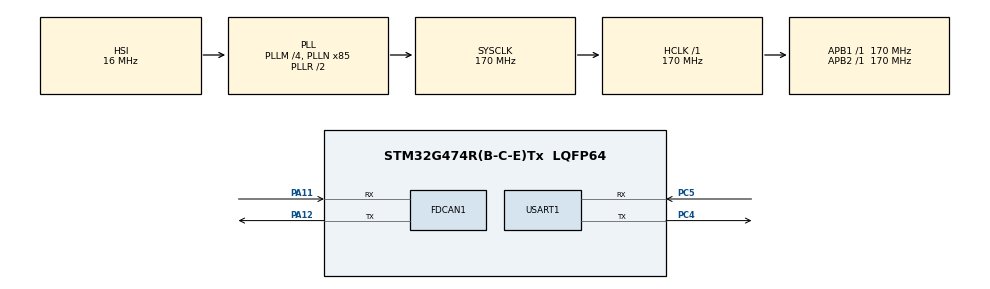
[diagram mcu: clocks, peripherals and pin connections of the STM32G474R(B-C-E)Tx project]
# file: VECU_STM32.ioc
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FDCAN1.AutoRetransmission=ENABLE
FDCAN1.CalculateBaudRateNominal=500000
FDCAN1.CalculateTimeBitNominal=2000
FDCAN1.CalculateTimeQuantumNominal=100.0
FDCAN1.NominalPrescaler=17
FDCAN1.NominalSyncJumpWidth=3
FDCAN1.NominalTimeSeg1=16
FDCAN1.NominalTimeSeg2=3
FDCAN1.StdFiltersNbr=4
FREERTOS.Tasks01=defaultTask,24,128,StartDefaultTask,Default,NULL,Dynamic,NULL,NULL;CanRxTask,40,512,StartCanRxTask,Default,NULL,Dynamic,NULL,NULL;VehicleTask,32,512,StartVehicleTask,Default,NULL,Dynamic,NULL,NULL;CanTxTask,32,512,StartCanTxTask,Default,NULL,Dynamic,NULL,NULL;DiagTask,24,1028,StartDiagTask,Default,NULL,Dynamic,NULL,NULL;HealthTask,24,256,StartHealthTask,Default,NULL,Dynamic,NULL,NULL;NvmTask,16,512,StartNvmTask,Default,NULL,Dynamic,NULL,NULL;CliTask,8,512,StartCliTask,As weak,NULL,Dynamic,NULL,NULL
FREERTOS.configCHECK_FOR_STACK_OVERFLOW=2
FREERTOS.configENABLE_FPU=1
FREERTOS.configGENERATE_RUN_TIME_STATS=1
FREERTOS.configRECORD_STACK_HIGH_ADDRESS=1
FREERTOS.configTOTAL_HEAP_SIZE=32768
FREERTOS.configUSE_MALLOC_FAILED_HOOK=1
FREERTOS.configUSE_TICK_HOOK=0
Mcu.Family=STM32G4
Mcu.Name=STM32G474R(B-C-E)Tx
Mcu.Package=LQFP64
NUCLEO-G474RE.BUTTON=1
NUCLEO-G474RE.LD2=true
NUCLEO-G474RE.VCP=true
NVIC.EXTI15_10_IRQn=true\:5\:0\:false\:false\:true\:true\:false\:true\:true
NVIC.FDCAN1_IT0_IRQn=true\:5\:0\:false\:false\:true\:true\:true\:true\:true
NVIC.FDCAN1_IT1_IRQn=true\:5\:0\:false\:false\:true\:true\:true\:true\:true
NVIC.PriorityGroup=NVIC_PRIORITYGROUP_4
NVIC.TIM6_DAC_IRQn=true\:0\:0\:true\:false\:true\:false\:false\:true\:true
NVIC.TimeBase=TIM6_DAC_IRQn
NVIC.TimeBaseIP=TIM6
NVIC.USART1_IRQn=true\:7\:0\:true\:false\:true\:true\:true\:true\:true
PA11.Mode=FDCAN_Activate
PA11.Signal=FDCAN1_RX
PA12.Mode=FDCAN_Activate
PA12.Signal=FDCAN1_TX
PA13.GPIO_Label=T_SWDIO
PA13.Signal=SYS_JTMS-SWDIO
PA14.GPIO_Label=T_SWCLK
PA14.Signal=SYS_JTCK-SWCLK
PA2.Signal=LPUART1_TX
PA3.Signal=LPUART1_RX
PB3.GPIO_Label=T_SWO
PB3.Signal=SYS_JTDO-SWO
PC14-OSC32_IN.GPIO_Label=RCC_OSC32_IN
PC14-OSC32_IN.Signal=RCC_OSC32_IN
PC15-OSC32_OUT.GPIO_Label=RCC_OSC32_OUT
PC15-OSC32_OUT.Signal=RCC_OSC32_OUT
PC4.Mode=Asynchronous
PC4.Signal=USART1_TX
PC5.Mode=Asynchronous
PC5.Signal=USART1_RX
PF0-OSC_IN.GPIO_Label=RCC_OSC_IN
PF0-OSC_IN.Signal=RCC_OSC_IN
PF1-OSC_OUT.GPIO_Label=RCC_OSC_OUT
PF1-OSC_OUT.Signal=RCC_OSC_OUT
ProjectManager.HeapSize=0x200
ProjectManager.StackSize=0x400
ProjectManager.TargetToolchain=STM32CubeIDE
RCC.ADC12Freq_Value=170000000
RCC.ADC345Freq_Value=170000000
RCC.AHBFreq_Value=170000000
RCC.APB1Freq_Value=170000000
RCC.APB1TimFreq_Value=170000000
RCC.APB2Freq_Value=170000000
RCC.APB2TimFreq_Value=170000000
RCC.CortexFreq_Value=170000000
RCC.EXTERNAL_CLOCK_VALUE=12288000
RCC.HCLKFreq_Value=170000000
RCC.HSE_VALUE=24000000
RCC.HSI48_VALUE=48000000
RCC.HSI_VALUE=16000000
RCC.LSE_VALUE=32768
RCC.PLLM=RCC_PLLM_DIV4
RCC.PLLN=85
RCC.RTCClockSelection=RCC_RTCCLKSOURCE_LSE
RCC.SYSCLKFreq_VALUE=170000000
RCC.SYSCLKSource=RCC_SYSCLKSOURCE_PLLCLK
RCC.USBFreq_Value=170000000
RCC.VCOOutputFreq_Value=340000000
USART1.VirtualMode-Asynchronous=VM_ASYNC
VP_FREERTOS_VS_CMSIS_V2.Mode=CMSIS_V2
VP_NUCLEO-G474RE_VS_BSP_COMMON.Mode=COMMON
VP_SYS_VS_DBSignals.Mode=DisableDeadBatterySignals
VP_SYS_VS_tim6.Mode=TIM6
board=NUCLEO-G474RE

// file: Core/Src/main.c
/* USER CODE BEGIN Header */
/**
  ******************************************************************************
  * @file           : main.c
  * @brief          : Main program body
  ******************************************************************************
  * @attention
  *
  * Copyright (c) 2026 STMicroelectronics.
  * All rights reserved.
  *
  * This software is licensed under terms that can be found in the LICENSE file
  * in the root directory of this software component.
  * If no LICENSE file comes with this software, it is provided AS-IS.
  *
  ******************************************************************************
  */
/* USER CODE END Header */
#include "main.h"
#include "cmsis_os.h"
#include "fdcan.h"
#include "usart.h"
#include "gpio.h"

COM_InitTypeDef BspCOMInit;

void SystemClock_Config(void);
void MX_FREERTOS_Init(void);

int main(void)
{

  /* MCU Configuration--------------------------------------------------------*/

  /* Reset of all peripherals, Initializes the Flash interface and the Systick. */
  HAL_Init();

  /* Configure the system clock */
  SystemClock_Config();

  /* Initialize all configured peripherals */
  MX_GPIO_Init();
  MX_FDCAN1_Init();
  MX_USART1_UART_Init();

  /* Init scheduler */
  osKernelInitialize();  /* Call init function for freertos objects (in cmsis_os2.c) */
  MX_FREERTOS_Init();

  /* Initialize led */
  BSP_LED_Init(LED_GREEN);

  /* Initialize USER push-button, will be used to trigger an interrupt each time it's pressed.*/
  BSP_PB_Init(BUTTON_USER, BUTTON_MODE_EXTI);

  /* Initialize COM1 port (115200, 8 bits (7-bit data + 1 stop bit), no parity */
  BspCOMInit.BaudRate   = 115200;
  BspCOMInit.WordLength = COM_WORDLENGTH_8B;
  BspCOMInit.StopBits   = COM_STOPBITS_1;
  BspCOMInit.Parity     = COM_PARITY_NONE;
  BspCOMInit.HwFlowCtl  = COM_HWCONTROL_NONE;
  if (BSP_COM_Init(COM1, &BspCOMInit) != BSP_ERROR_NONE)
  {
    Error_Handler();
  }

  /* Start scheduler */
  osKernelStart();

  /* We should never get here as control is now taken by the scheduler */

  /* Infinite loop */
  while (1)
  {

  }
}

void SystemClock_Config(void)
{
  RCC_OscInitTypeDef RCC_OscInitStruct = {0};
  RCC_ClkInitTypeDef RCC_ClkInitStruct = {0};

  /** Configure the main internal regulator output voltage
  */
  HAL_PWREx_ControlVoltageScaling(PWR_REGULATOR_VOLTAGE_SCALE1_BOOST);

  /** Initializes the RCC Oscillators according to the specified parameters
  * in the RCC_OscInitTypeDef structure.
  */
  RCC_OscInitStruct.OscillatorType = RCC_OSCILLATORTYPE_HSI;
  RCC_OscInitStruct.HSIState = RCC_HSI_ON;
  RCC_OscInitStruct.HSICalibrationValue = RCC_HSICALIBRATION_DEFAULT;
  RCC_OscInitStruct.PLL.PLLState = RCC_PLL_ON;
  RCC_OscInitStruct.PLL.PLLSource = RCC_PLLSOURCE_HSI;
  RCC_OscInitStruct.PLL.PLLM = RCC_PLLM_DIV4;
  RCC_OscInitStruct.PLL.PLLN = 85;
  RCC_OscInitStruct.PLL.PLLP = RCC_PLLP_DIV2;
  RCC_OscInitStruct.PLL.PLLQ = RCC_PLLQ_DIV2;
  RCC_OscInitStruct.PLL.PLLR = RCC_PLLR_DIV2;
  if (HAL_RCC_OscConfig(&RCC_OscInitStruct) != HAL_OK)
  {
    Error_Handler();
  }

  /** Initializes the CPU, AHB and APB buses clocks
  */
  RCC_ClkInitStruct.ClockType = RCC_CLOCKTYPE_HCLK|RCC_CLOCKTYPE_SYSCLK
                              |RCC_CLOCKTYPE_PCLK1|RCC_CLOCKTYPE_PCLK2;
  RCC_ClkInitStruct.SYSCLKSource = RCC_SYSCLKSOURCE_PLLCLK;
  RCC_ClkInitStruct.AHBCLKDivider = RCC_SYSCLK_DIV1;
  RCC_ClkInitStruct.APB1CLKDivider = RCC_HCLK_DIV1;
  RCC_ClkInitStruct.APB2CLKDivider = RCC_HCLK_DIV1;

  if (HAL_RCC_ClockConfig(&RCC_ClkInitStruct, FLASH_LATENCY_4) != HAL_OK)
  {
    Error_Handler();
  }
}

void HAL_TIM_PeriodElapsedCallback(TIM_HandleTypeDef *htim)
{
  if (htim->Instance == TIM6)
  {
    HAL_IncTick();
  }
}

void Error_Handler(void)
{
  __disable_irq();
  while (1)
  {
  }
}

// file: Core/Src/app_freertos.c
/* USER CODE BEGIN Header */
/**
  ******************************************************************************
  * File Name          : app_freertos.c
  * Description        : Code for freertos applications
  ******************************************************************************
  * @attention
  *
  * Copyright (c) 2026 STMicroelectronics.
  * All rights reserved.
  *
  * This software is licensed under terms that can be found in the LICENSE file
  * in the root directory of this software component.
  * If no LICENSE file comes with this software, it is provided AS-IS.
  *
  ******************************************************************************
  */
/* USER CODE END Header */

#include "FreeRTOS.h"
#include "task.h"
#include "main.h"
#include "cmsis_os.h"

/* USER CODE BEGIN Includes */
#include "debug_cli.h"

#include "vehicle_state_mgr.h"
#include "body_state_mgr.h"
#include "command_mgr.h"
#include "can_codec.h"
#include "can_matrix.h"
/* Khai báo các hàm từ platform/can_if/ */
extern ServiceResult_t CanIf_InitAndStart(void);
extern void            CanScheduler_Step10ms(void);
extern void UartPort_StartReceive(void);

/* USER CODE END Includes */

/* USER CODE BEGIN Variables */
  osMessageQueueId_t canRxQueueHandle;

/* USER CODE END Variables */
/* Definitions for defaultTask */
osThreadId_t defaultTaskHandle;
const osThreadAttr_t defaultTask_attributes = {
  .name = "defaultTask",
  .priority = (osPriority_t) osPriorityNormal,
  .stack_size = 128 * 4
};
/* Definitions for CanRxTask */
osThreadId_t CanRxTaskHandle;
const osThreadAttr_t CanRxTask_attributes = {
  .name = "CanRxTask",
  .priority = (osPriority_t) osPriorityHigh,
  .stack_size = 512 * 4
};
/* Definitions for VehicleTask */
osThreadId_t VehicleTaskHandle;
const osThreadAttr_t VehicleTask_attributes = {
  .name = "VehicleTask",
  .priority = (osPriority_t) osPriorityAboveNormal,
  .stack_size = 512 * 4
};
/* Definitions for CanTxTask */
osThreadId_t CanTxTaskHandle;
const osThreadAttr_t CanTxTask_attributes = {
  .name = "CanTxTask",
  .priority = (osPriority_t) osPriorityAboveNormal,
  .stack_size = 512 * 4
};
/* Definitions for DiagTask */
osThreadId_t DiagTaskHandle;
const osThreadAttr_t DiagTask_attributes = {
  .name = "DiagTask",
  .priority = (osPriority_t) osPriorityNormal,
  .stack_size = 1028 * 4
};
/* Definitions for HealthTask */
osThreadId_t HealthTaskHandle;
const osThreadAttr_t HealthTask_attributes = {
  .name = "HealthTask",
  .priority = (osPriority_t) osPriorityNormal,
  .stack_size = 256 * 4
};
/* Definitions for NvmTask */
osThreadId_t NvmTaskHandle;
const osThreadAttr_t NvmTask_attributes = {
  .name = "NvmTask",
  .priority = (osPriority_t) osPriorityBelowNormal,
  .stack_size = 512 * 4
};
/* Definitions for CliTask */
osThreadId_t CliTaskHandle;
const osThreadAttr_t CliTask_attributes = {
  .name = "CliTask",
  .priority = (osPriority_t) osPriorityLow,
  .stack_size = 512 * 4
};

void StartDefaultTask(void *argument);
void StartCanRxTask(void *argument);
void StartVehicleTask(void *argument);
void StartCanTxTask(void *argument);
void StartDiagTask(void *argument);
void StartHealthTask(void *argument);
void StartNvmTask(void *argument);
void StartCliTask(void *argument);

void MX_FREERTOS_Init(void); /* (MISRA C 2004 rule 8.1) */

/* Hook prototypes */
void configureTimerForRunTimeStats(void);
unsigned long getRunTimeCounterValue(void);
void vApplicationStackOverflowHook(xTaskHandle xTask, signed char *pcTaskName);
void vApplicationMallocFailedHook(void);

/* USER CODE BEGIN 1 */
/* Functions needed when configGENERATE_RUN_TIME_STATS is on */
__weak void configureTimerForRunTimeStats(void)
{

}

__weak unsigned long getRunTimeCounterValue(void)
{
return 0;
}
/* USER CODE END 1 */

/* USER CODE BEGIN 4 */
void vApplicationStackOverflowHook(xTaskHandle xTask, signed char *pcTaskName)
{
   /* Run time stack overflow checking is performed if
   configCHECK_FOR_STACK_OVERFLOW is defined to 1 or 2. This hook function is
   called if a stack overflow is detected. */
}
/* USER CODE END 4 */

/* USER CODE BEGIN 5 */
void vApplicationMallocFailedHook(void)
{
   /* vApplicationMallocFailedHook() will only be called if
   configUSE_MALLOC_FAILED_HOOK is set to 1 in FreeRTOSConfig.h. It is a hook
   function that will get called if a call to pvPortMalloc() fails.
   pvPortMalloc() is called internally by the kernel whenever a task, queue,
   timer or semaphore is created. It is also called by various parts of the
   demo application. If heap_1.c or heap_2.c are used, then the size of the
   heap available to pvPortMalloc() is defined by configTOTAL_HEAP_SIZE in
   FreeRTOSConfig.h, and the xPortGetFreeHeapSize() API function can be used
   to query the size of free heap space that remains (although it does not
   provide information on how the remaining heap might be fragmented). */
}
/* USER CODE END 5 */

void MX_FREERTOS_Init(void) {

  /* USER CODE BEGIN RTOS_QUEUES */
	/* Tạo hàng đợi nhận CAN (16 phần tử, mỗi phần tử 16 bytes) */
	canRxQueueHandle = osMessageQueueNew(16U, 16U, NULL);
  /* add queues, ... */
  /* USER CODE END RTOS_QUEUES */

  /* Create the thread(s) */
  /* creation of defaultTask */
  defaultTaskHandle = osThreadNew(StartDefaultTask, NULL, &defaultTask_attributes);

  /* creation of CanRxTask */
  CanRxTaskHandle = osThreadNew(StartCanRxTask, NULL, &CanRxTask_attributes);

  /* creation of VehicleTask */
  VehicleTaskHandle = osThreadNew(StartVehicleTask, NULL, &VehicleTask_attributes);

  /* creation of CanTxTask */
  CanTxTaskHandle = osThreadNew(StartCanTxTask, NULL, &CanTxTask_attributes);

  /* creation of DiagTask */
  DiagTaskHandle = osThreadNew(StartDiagTask, NULL, &DiagTask_attributes);

  /* creation of HealthTask */
  HealthTaskHandle = osThreadNew(StartHealthTask, NULL, &HealthTask_attributes);

  /* creation of NvmTask */
  NvmTaskHandle = osThreadNew(StartNvmTask, NULL, &NvmTask_attributes);

  /* creation of CliTask */
  CliTaskHandle = osThreadNew(StartCliTask, NULL, &CliTask_attributes);

  /* USER CODE BEGIN RTOS_THREADS */
  Cli_Init();
  UartPort_StartReceive(); /* Bật ngắt UART1 lắng nghe bàn phím */

  VehicleStateMgr_Init();
  BodyStateMgr_Init();
  CommandMgr_Init();
  (void)CanIf_InitAndStart();
  /* add threads, ... */
  /* USER CODE END RTOS_THREADS */

}

void StartDefaultTask(void *argument)
{
  for(;;)
  {
    osDelay(1);
  }
}

void StartCanRxTask(void *argument)
{
  /* USER CODE BEGIN StartCanRxTask */
  /* Infinite loop */
	typedef struct {
	      uint32_t can_id;
	      uint8_t  dlc;
	      uint8_t  data[8];
	  } RawCanFrame_t;

	  RawCanFrame_t rx_frame;
	  for(;;)
	  {
	    /* Ngủ chờ sự kiện từ canRxQueueHandle (timeout = osWaitForever) */
	    if (osMessageQueueGet(canRxQueueHandle, &rx_frame, NULL, osWaitForever) == osOK)
	    {
	      if (rx_frame.can_id == CAN_ID_REMOTE_COMMAND) /* 0x400 */
	      {
	        RemoteCommandReq_t cmd_req;
	        CanCodec_DecodeRemoteCommand(rx_frame.data, rx_frame.dlc, &cmd_req);
	        CommandMgr_ProcessRemoteCommand(&cmd_req);
	      }
	    }
	  }
  /* USER CODE END StartCanRxTask */
}

void StartVehicleTask(void *argument)
{
  /* USER CODE BEGIN StartVehicleTask */
  /* Infinite loop */
	uint32_t wake_tick = osKernelGetTickCount();
	  for(;;)
	  {
	    VehicleStateMgr_Step10ms();
	    BodyStateMgr_Step10ms();
	    wake_tick += 10U;
	    osDelayUntil(wake_tick);
	  }
  /* USER CODE END StartVehicleTask */
}

void StartCanTxTask(void *argument)
{
  /* USER CODE BEGIN StartCanTxTask */
  /* Infinite loop */
	uint32_t wake_tick = osKernelGetTickCount();
	  for(;;)
	  {
	    CanScheduler_Step10ms();
	    wake_tick += 10U;
	    osDelayUntil(wake_tick);
	  }
  /* USER CODE END StartCanTxTask */
}

void StartDiagTask(void *argument)
{
  for(;;)
  {
    osDelay(1);
  }
}

void StartHealthTask(void *argument)
{
  for(;;)
  {
    osDelay(1);
  }
}

void StartNvmTask(void *argument)
{
  for(;;)
  {
    osDelay(1);
  }
}

__weak void StartCliTask(void *argument)
{
  /* USER CODE BEGIN StartCliTask */
  /* Infinite loop */
	uint32_t wake_tick = osKernelGetTickCount();
	  for(;;)
	  {
	    /* Gọi hàm xử lý dòng lệnh của tầng Application */
	    Cli_Process();

	    /* Chạy chu kỳ 50ms (Vì UART gõ phím rất chậm, không cần chạy liên tục) */
	    wake_tick += 50U;
	    osDelayUntil(wake_tick);
	  }
  /* USER CODE END StartCliTask */
}
